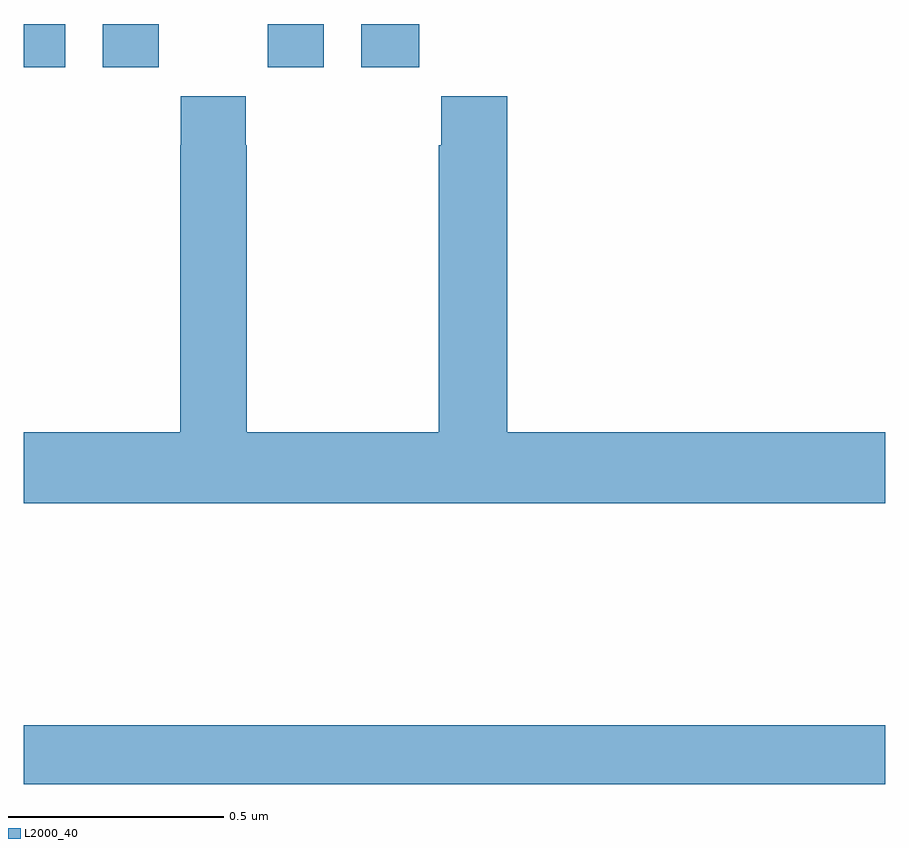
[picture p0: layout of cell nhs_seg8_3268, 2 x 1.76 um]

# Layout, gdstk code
import gdstk
lib = gdstk.Library(unit=1e-6, precision=1e-09)
def R(c, l, rs):  # rectangles x0, y0, x1, y1
    for r in rs: c.add(gdstk.rectangle(r[:2], r[2:], *l))
def P(c, l, *ps):  # polygons
    for p in ps: c.add(gdstk.Polygon(p, *l))
L2000_40 = (2000, 40)

nhs_seg8_3268 = lib.new_cell('nhs_seg8_3268')
R(nhs_seg8_3268, L2000_40, [(154,1161.136,156,1161.272), (154,1162.8,154.096,1162.9), (154.184,1162.8,154.314,1162.9), (154.566,1162.8,154.696,1162.9), (154.784,1162.8,154.918,1162.9)])
P(nhs_seg8_3268, L2000_40, [(156,1161.952),(155.123,1161.952),(155.123,1162.732),(154.969,1162.732),(154.969,1162.619),(154.963,1162.619),(154.963,1161.952),(154.518,1161.952),(154.518,1162.619),(154.515,1162.619),(154.515,1162.732),(154.365,1162.732),(154.365,1162.619),(154.363,1162.619),(154.363,1161.952),(154,1161.952),(154,1161.788),(156,1161.788)])

lib.write_gds('nhs_seg8_3268.gds')
